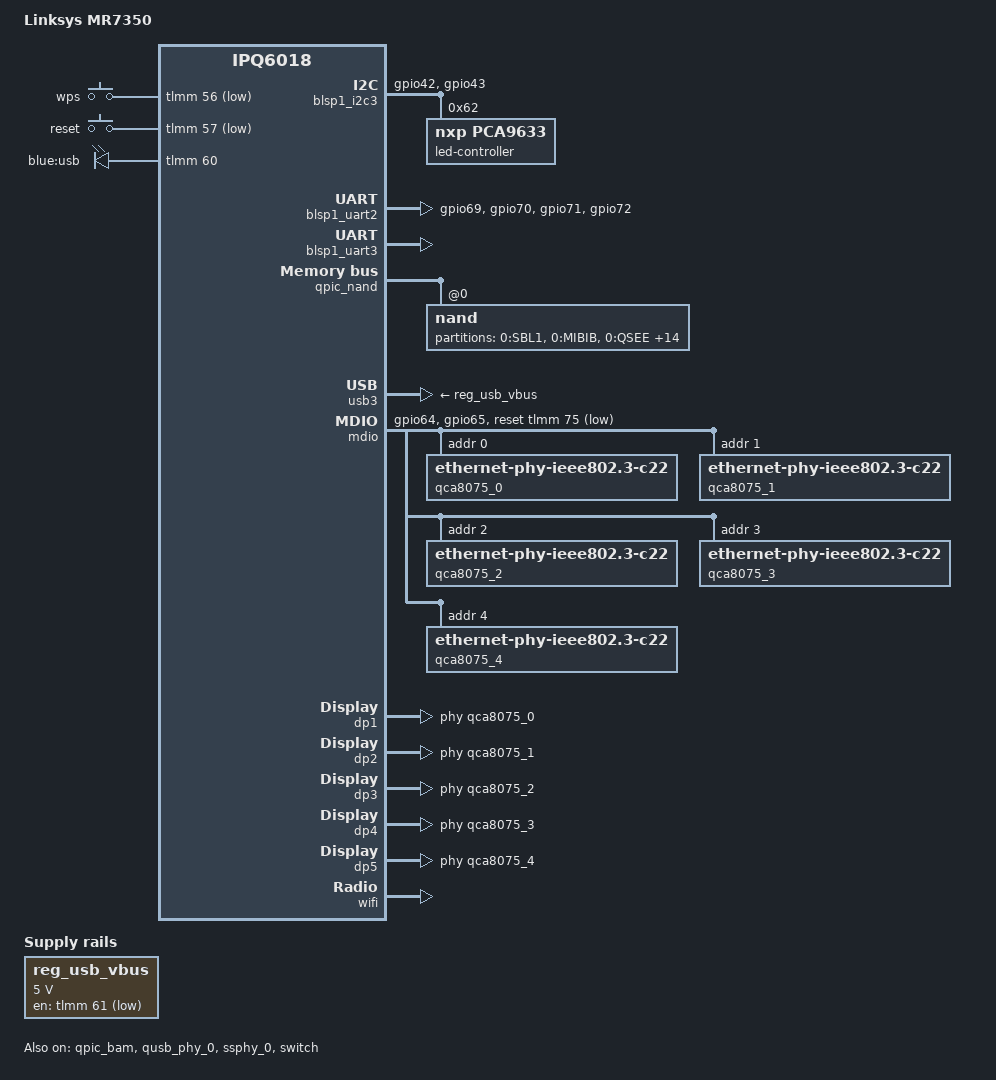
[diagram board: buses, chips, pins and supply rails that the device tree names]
// SPDX-License-Identifier: GPL-2.0-or-later OR MIT

/dts-v1/;

#include "ipq6018-512m.dtsi"
#include "ipq6018-ess.dtsi"
#include "ipq6018-mp5496.dtsi"
#include "ipq6018-nss.dtsi"

#include <dt-bindings/gpio/gpio.h>
#include <dt-bindings/input/input.h>

/ {
	model = "Linksys MR7350";
	compatible = "linksys,mr7350", "qcom,ipq6018";

	aliases {
		serial0 = &blsp1_uart3;
		serial1 = &blsp1_uart2;
		led-boot = &led_system_blue;
		led-failsafe = &led_system_red;
		led-running = &led_system_blue;
		led-upgrade = &led_system_blue;
	};

	chosen {
		stdout-path = "serial0:115200n8";
		bootargs-append = " root=/dev/ubiblock0_0";
	};

	keys {
		compatible = "gpio-keys";

		wps {
			label = "wps";
			linux,code = <KEY_WPS_BUTTON>;
			gpios = <&tlmm 56 GPIO_ACTIVE_LOW>;
		};

		reset {
			label = "reset";
			linux,code = <KEY_RESTART>;
			gpios = <&tlmm 57 GPIO_ACTIVE_LOW>;
		};
	};

	leds {
		compatible = "gpio-leds";

		usb {
			label = "blue:usb";
			gpios = <&tlmm 60 GPIO_ACTIVE_HIGH>;
			trigger-sources = <&usb3_port1>, <&usb3_port2>;
			linux,default-trigger = "usbport";
		};
	};

	reg_usb_vbus: regulator-usb-vbus {
		compatible = "regulator-fixed";
		regulator-name = "usb_vbus";
		regulator-min-microvolt = <5000000>;
		regulator-max-microvolt = <5000000>;
		gpio = <&tlmm 61 GPIO_ACTIVE_LOW>;
		regulator-always-on;
	};
};

&tlmm {
	hsuart_pins: hsuart-pins {
		mux {
			pins = "gpio69", "gpio70",
				"gpio71", "gpio72";
			function = "blsp1_uart";
			drive-strength = <8>;
			bias-disable;
		};
	};

	i2c_pins: i2c-pins {
		mux {
			pins = "gpio42", "gpio43";
			function = "blsp2_i2c";
			drive-strength = <8>;
			bias-pull-down;
		};
	};

	mdio_pins: mdio-pins {
		mdc {
			pins = "gpio64";
			function = "mdc";
			drive-strength = <8>;
			bias-pull-up;
		};

		mdio {
			pins = "gpio65";
			function = "mdio";
			drive-strength = <8>;
			bias-pull-up;
		};
	};
};

&blsp1_i2c3 {
	pinctrl-0 = <&i2c_pins>;
	pinctrl-names = "default";
	status = "okay";

	led-controller@62 {
		compatible = "nxp,pca9633";
		#address-cells = <1>;
		#size-cells = <0>;
		reg = <0x62>;

		led_system_red: led@0 {
			label = "red:system";
			reg = <0>;
		};

		led_system_green: led@1 {
			label = "green:system";
			reg = <1>;
		};

		led_system_blue: led@2 {
			label = "blue:system";
			reg = <2>;
			default-state = "on";
		};
	};
};

&blsp1_uart2 {
	pinctrl-0 = <&hsuart_pins>;
	pinctrl-names = "default";
	status = "okay";
};

&blsp1_uart3 {
	pinctrl-0 = <&serial_3_pins>;
	pinctrl-names = "default";
	status = "okay";
};

&dwc_0 {
	#address-cells = <1>;
	#size-cells = <0>;

	usb3_port1: port@1 {
		reg = <1>;
		#trigger-source-cells = <0>;
	};

	usb3_port2: port@2 {
		reg = <2>;
		#trigger-source-cells = <0>;
	};
};

&qpic_bam {
	status = "okay";
};

&qpic_nand {
	status = "okay";

	nand@0 {
		reg = <0>;
		nand-ecc-strength = <4>;
		nand-ecc-step-size = <512>;
		nand-bus-width = <8>;

		partitions {
			compatible = "fixed-partitions";
			#address-cells = <1>;
			#size-cells = <1>;

			partition@0 {
				label = "0:SBL1";
				reg = <0x00000000 0x00180000>;
			};

			partition@180000 {
				label = "0:MIBIB";
				reg = <0x00180000 0x00100000>;
			};

			partition@280000 {
				label = "0:QSEE";
				reg = <0x00280000 0x00380000>;
			};

			partition@600000 {
				label = "0:DEVCFG";
				reg = <0x00600000 0x00080000>;
			};

			partition@680000 {
				label = "0:RPM";
				reg = <0x00680000 0x00080000>;
			};

			partition@700000 {
				label = "0:CDT";
				reg = <0x00700000 0x00080000>;
			};

			partition@780000 {
				label = "0:APPSBLENV";
				reg = <0x00780000 0x00080000>;
			};

			partition@800000 {
				label = "0:APPSBL";
				reg = <0x00800000 0x00180000>;
			};

			partition@980000 {
				label = "0:ART";
				reg = <0x00980000 0x00080000>;
			};

			partition@a00000 {
				label = "0:WIFIFW";
				reg = <0x00a00000 0x00900000>;
			};

			partition@1300000 {
				label = "0:ETHPHYFW";
				reg = <0x01300000 0x00080000>;
			};

			partition@1380000 {
				label = "u_env";
				reg = <0x01380000 0x00080000>;
			};

			partition@1400000 {
				label = "s_env";
				reg = <0x01400000 0x00040000>;
			};

			partition@1440000 {
				label = "devinfo";
				reg = <0x01440000 0x00040000>;
			};

			partition@1480000 {
				label = "rootfs";
				reg = <0x01480000 0x0a400000>;
			};

			partition@be80000 {
				label = "sysdiag";
				reg = <0x0be80000 0x00200000>;
			};

			partition@c080000 {
				label = "syscfg";
				reg = <0x0c080000 0x04400000>;
			};
		};
	};
};

&qusb_phy_0 {
	status = "okay";
};

&ssphy_0 {
	status = "okay";
};

&usb3 {
	vbus-supply = <&reg_usb_vbus>;
	status = "okay";
};

&mdio {
	status = "okay";

	pinctrl-0 = <&mdio_pins>;
	pinctrl-names = "default";
	reset-gpios = <&tlmm 75 GPIO_ACTIVE_LOW>;

	qca8075_0: ethernet-phy@0 {
		compatible = "ethernet-phy-ieee802.3-c22";
		reg = <0>;
	};

	qca8075_1: ethernet-phy@1 {
		compatible = "ethernet-phy-ieee802.3-c22";
		reg = <1>;
	};

	qca8075_2: ethernet-phy@2 {
		compatible = "ethernet-phy-ieee802.3-c22";
		reg = <2>;
	};

	qca8075_3: ethernet-phy@3 {
		compatible = "ethernet-phy-ieee802.3-c22";
		reg = <3>;
	};

	qca8075_4: ethernet-phy@4 {
		compatible = "ethernet-phy-ieee802.3-c22";
		reg = <4>;
	};
};

&switch {
	status = "okay";

	switch_cpu_bmp = <0x1>;  /* cpu port bitmap */
	switch_lan_bmp = <0x1e>; /* lan port bitmap */
	switch_wan_bmp = <0x20>; /* wan port bitmap */
	switch_inner_bmp = <0xc0>; /*inner port bitmap*/
	switch_mac_mode = <0x0>; /* mac mode for uniphy 0*/
	switch_mac_mode1 = <0xff>; /* mac mode for uniphy 1*/
	switch_mac_mode2 = <0xff>; /* mac mode for uniphy 2*/

	qcom,port_phyinfo {
		port@0 {
			port_id = <1>;
			phy_address = <0>;
		};
		port@1 {
			port_id = <2>;
			phy_address = <1>;
		};
		port@2 {
			port_id = <3>;
			phy_address = <2>;
		};
		port@3 {
			port_id = <4>;
			phy_address = <3>;
		};
		port@4 {
			port_id = <5>;
			phy_address = <4>;
		};
	};
};

&edma {
	status = "okay";
};

&dp1 {
	status = "okay";
	phy-handle = <&qca8075_0>;
	label = "lan1";
};

&dp2 {
	status = "okay";
	phy-handle = <&qca8075_1>;
	label = "lan2";
};

&dp3 {
	status = "okay";
	phy-handle = <&qca8075_2>;
	label = "lan3";
};

&dp4 {
	status = "okay";
	phy-handle = <&qca8075_3>;
	label = "lan4";
};

&dp5 {
	status = "okay";
	phy-handle = <&qca8075_4>;
	label = "wan";
};

&wifi {
	status = "okay";

	qcom,ath11k-calibration-variant = "Linksys-MR7350";
	qcom,ath11k-fw-memory-mode = <1>;
};
